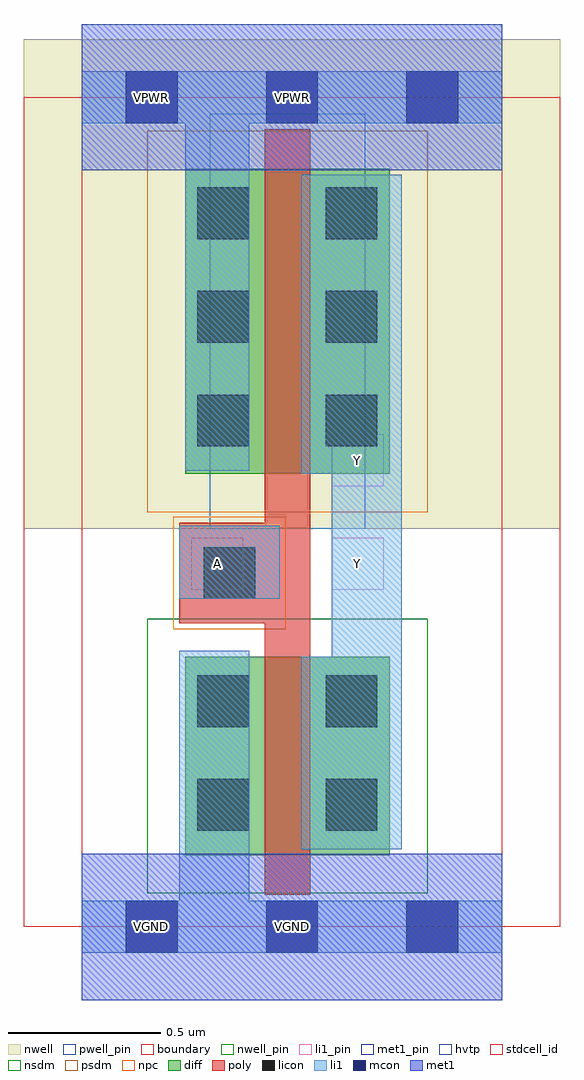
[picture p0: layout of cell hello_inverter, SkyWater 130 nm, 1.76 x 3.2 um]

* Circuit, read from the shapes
.subckt hello_inverter A VGND VNB VPB VPWR Y
XM1 Y A VGND VNB sky130_fd_pr__nfet_01v8 w=0.65 l=0.15
XM2 Y A VPWR VPB sky130_fd_pr__pfet_01v8_hvt w=1 l=0.15
.ends

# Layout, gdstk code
import gdstk
lib = gdstk.Library(unit=1e-6, precision=1e-09)
def R(c, l, rs):  # rectangles x0, y0, x1, y1
    for r in rs: c.add(gdstk.rectangle(r[:2], r[2:], *l))
def A(c, l, x, y, w, h, nx, ny, dx, dy):  # array of equal rectangles
    R(c, l, [(x+i*dx, y+j*dy, x+i*dx+w, y+j*dy+h) for i in range(nx) for j in range(ny)])
nwell_pin = (64, 16)
nwell = (64, 20)
diff = (65, 20)
poly = (66, 20)
licon = (66, 44)
li1_pin = (67, 16)
li1 = (67, 20)
mcon = (67, 44)
met1_pin = (68, 16)
met1 = (68, 20)
hvtp = (78, 44)
stdcell_id = (81, 4)
nsdm = (93, 44)
psdm = (94, 20)
npc = (95, 20)
pwell_pin = (122, 16)
boundary = (235, 4)

hello_inverter = lib.new_cell('hello_inverter')
R(hello_inverter, nwell_pin, [(0.145,2.635,0.315,2.805)])
R(hello_inverter, nwell, [(-0.19,1.305,1.57,2.91)])
R(hello_inverter, diff, [(0.34,0.235,1.01,0.885), (0.34,1.485,1.01,2.485)])
R(hello_inverter, poly, [(0.6,0.105,0.75,0.995), (0.32,0.995,0.75,1.325), (0.6,1.325,0.75,2.615)])
A(hello_inverter, licon, 0.38, 1.575, 0.17, 0.17, 1, 3, 0, 0.34)
A(hello_inverter, licon, 0.8, 1.575, 0.17, 0.17, 1, 3, 0, 0.34)
R(hello_inverter, licon, [(0.38,0.315,0.55,0.485), (0.8,0.315,0.97,0.485), (0.38,0.655,0.55,0.825), (0.8,0.655,0.97,0.825), (0.4,1.075,0.57,1.245)])
R(hello_inverter, li1_pin, [(0.36,1.105,0.53,1.275), (0.82,1.105,0.99,1.275), (0.82,1.445,0.99,1.615)])
R(hello_inverter, li1, [(0,-0.085,1.38,0.085), (0.32,0.085,0.55,0.905), (0.72,0.255,1.05,0.885), (0.82,0.885,1.05,1.485), (0.32,1.075,0.65,1.315), (0.72,1.485,1.05,2.465), (0.34,1.495,0.55,2.635), (0,2.635,1.38,2.805)])
A(hello_inverter, mcon, 0.145, -0.085, 0.17, 0.17, 3, 2, 0.46, 2.72)
R(hello_inverter, met1_pin, [(0,-0.24,1.38,0.24), (0.145,-0.085,0.315,0.085), (0,2.48,1.38,2.96), (0.145,2.635,0.315,2.805)])
R(hello_inverter, met1, [(0,-0.24,1.38,0.24), (0,2.48,1.38,2.96)])
R(hello_inverter, hvtp, [(0.42,1.305,0.93,2.665)])
R(hello_inverter, stdcell_id, [(-0.19,0,1.57,2.72)])
R(hello_inverter, nsdm, [(0.215,0.11,1.135,1.01)])
R(hello_inverter, psdm, [(0.215,1.36,1.135,2.61)])
R(hello_inverter, npc, [(0.3,0.975,0.67,1.345)])
R(hello_inverter, pwell_pin, [(0.145,-0.085,0.315,0.085)])
R(hello_inverter, boundary, [(0,0,1.38,2.72)])
hello_inverter.add(gdstk.Label('A', (0.445,1.19), layer=67, texttype=5))
hello_inverter.add(gdstk.Label('Y', (0.905,1.19), layer=67, texttype=5))
hello_inverter.add(gdstk.Label('Y', (0.905,1.53), layer=67, texttype=5))
hello_inverter.add(gdstk.Label('VGND', (0.69,0), layer=68, texttype=5))
hello_inverter.add(gdstk.Label('VGND', (0.23,0), layer=68, texttype=5))
hello_inverter.add(gdstk.Label('VPWR', (0.69,2.72), layer=68, texttype=5))
hello_inverter.add(gdstk.Label('VPWR', (0.23,2.72), layer=68, texttype=5))
hello_inverter.add(gdstk.Label('VNB', (0.23,0), layer=64, texttype=59))
hello_inverter.add(gdstk.Label('VPB', (0.23,2.72), layer=64, texttype=5))

lib.write_gds('hello_inverter.gds')
